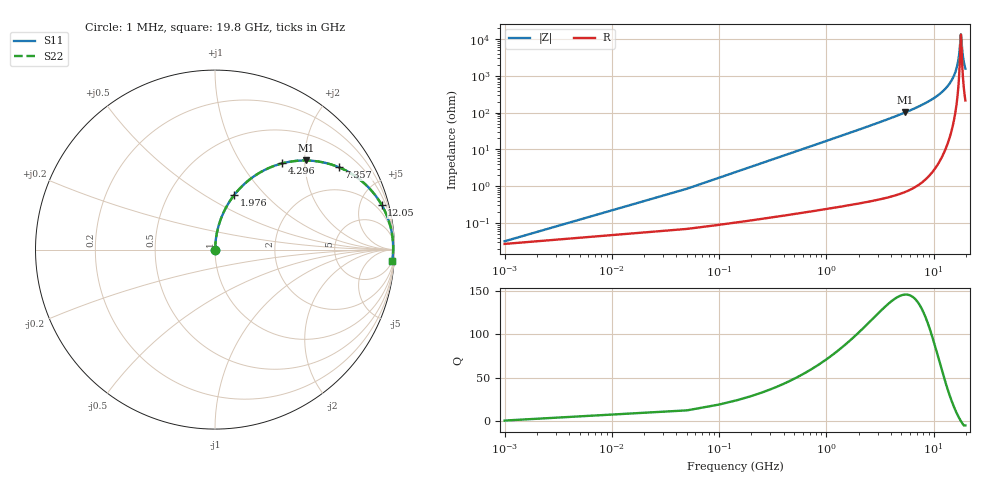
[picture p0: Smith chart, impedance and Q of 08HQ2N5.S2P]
! Coilcraft 0805HQ-2N5 Chip Inductor
! 19 June 2002
# MHZ S MA R 50
!Freq  MagS11  AngS11  MagS21  AngS21  MagS12  AngS12  MagS22  AngS22
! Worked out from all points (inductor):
!   403 points, 1 MHz to 19.8 GHz, reference 50 ohm
!   read as one part in series: L = 2.7 nH near 99.74 MHz
!   highest Q = 146 at 5.432 GHz (marker M1), where L = 2.97 nH
!   self-resonance near 17.97 GHz
!   S11 on the Smith chart (normalised r, x): 1 MHz: 1.00, +0.00; 1.976 GHz: 1.01, +0.68; 4.296 GHz: 1.01, +1.55; 7.357 GHz: 1.02, +3.00; 12.05 GHz: 1.13, +7.41; 19.8 GHz: 5, -31
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1  0.0003179 32.2  0.9997 -0.0  0.9997 -0.0  0.0003179 32.2
149.11  0.02528 86.2  0.9986 -1.4  0.9986 -1.4  0.02528 86.2
247.85  0.04198 85.8  0.9978 -2.4  0.9978 -2.4  0.04198 85.8
395.96  0.06697 84.8  0.9962 -3.8  0.9962 -3.8  0.06697 84.8
642.81  0.1084 82.8  0.9922 -6.2  0.9922 -6.2  0.1084 82.8
988.4  0.1655 79.7  0.9839 -9.5  0.9839 -9.5  0.1655 79.7
1975.8  0.3203 70.8  0.9441 -18.7  0.9441 -18.7  0.3203 70.8
3308.79  0.5007 59.5  0.8617 -30.0  0.8617 -30.0  0.5007 59.5
4296.19  0.6095 52.0  0.7885 -37.5  0.7885 -37.5  0.6095 52.0
5431.7  0.7096 44.4  0.6998 -45.2  0.6998 -45.2  0.7096 44.4
6616.58  0.7895 37.5  0.6082 -52.1  0.6082 -52.1  0.7895 37.5
7357.13  0.829 33.6  0.5531 -56.0  0.5531 -56.0  0.829 33.6
9924.37  0.9208 22.4  0.3804 -67.0  0.3804 -67.0  0.9208 22.4
12047.28  0.9612 15.0  0.2594 -74.0  0.2594 -74.0  0.9612 15.0
13232.16  0.975 11.5  0.1994 -77.1  0.1994 -77.1  0.975 11.5
15206.96  0.9882 6.3  0.1095 -80.7  0.1095 -80.7  0.9882 6.3
16539.95  0.992 3.1  0.05505 -80.1  0.05505 -80.1  0.992 3.1
17280.5  0.9927 1.5  0.02707 -73.6  0.02707 -73.6  0.9927 1.5
17971.68  0.9926 0.0  0.0074 -5.0  0.0074 -5.0  0.9926 0.0
18070.42  0.9926 -0.2  0.007985 21.2  0.007985 21.2  0.9926 -0.2
18810.97  0.9917 -1.7  0.03007 73.1  0.03007 73.1  0.9917 -1.7
19800  0.9895 -3.6  0.06283 78.6  0.06283 78.6  0.9895 -3.6
